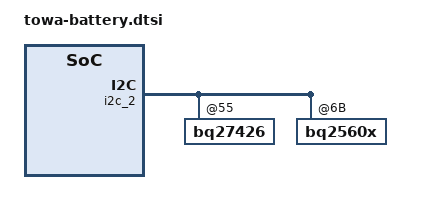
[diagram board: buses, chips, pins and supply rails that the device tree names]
/*
 * Copyright (c) 2015-2016, The Linux Foundation. All rights reserved.
 *
 * This program is free software; you can redistribute it and/or modify
 * it under the terms of the GNU General Public License version 2 and
 * only version 2 as published by the Free Software Foundation.
 *
 * This program is distributed in the hope that it will be useful,
 * but WITHOUT ANY WARRANTY; without even the implied warranty of
 * MERCHANTABILITY or FITNESS FOR A PARTICULAR PURPOSE.  See the
 * GNU General Public License for more details.
 */

&i2c_2{
	bq27426@55 {
		ti,ql1668-batt-fs-seq-sunwoda-main = <1>;
	};
	bq2560x@6B {
		ti,batt-full-design-typical-capacity = <4000>;
		ti,low-soc-disable-otg = <5>;
	};
};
